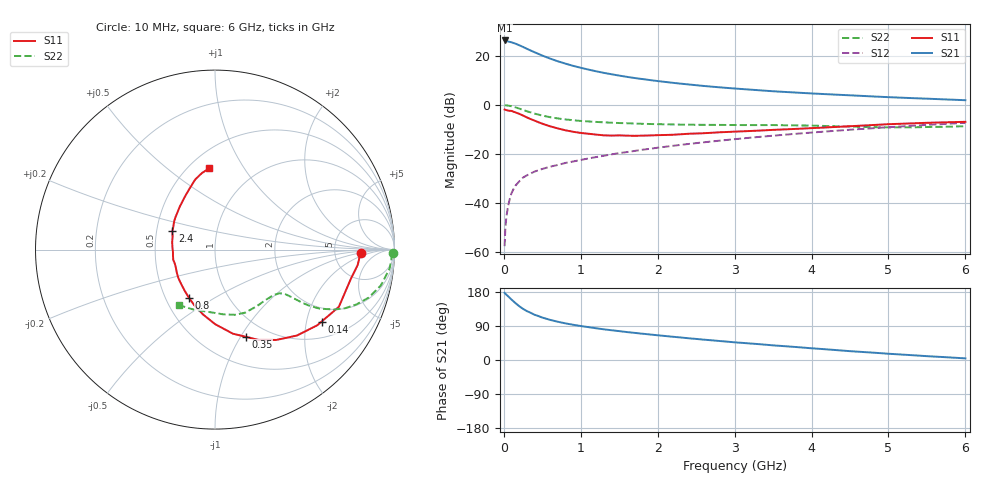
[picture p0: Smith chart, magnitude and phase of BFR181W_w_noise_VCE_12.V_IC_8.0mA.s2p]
! Infineon Technologies  Discrete & RF Semiconductors
! BFR181W
! VCE =  12. V,  IC =  8.0 mA
! Common Emitter S-Parameters:  Jan 2017
# GHz  S  MA  R  50
!  f  S11  S21  S12  S22
! GHz  MAG  ANG  MAG  ANG  MAG  ANG  MAG  ANG
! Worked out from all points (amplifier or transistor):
!   77 points, 10 MHz to 6 GHz, reference 50 ohm
!   highest |S21| = 26.4 dB at 10 MHz (marker M1)
!   |S21| within 3 dB of that: start of sweep to 272.8 MHz
!   unconditionally stable (mu >= 1): 1.204 GHz to 3.145 GHz
!   at 130 MHz: K = 0.24, MSG = 29.7 dB, |S12| = -34.1 dB
!   at 2.2 GHz: K = 1.06, MAG = 11.4 dB, |S12| = -16.7 dB
!   at 6 GHz: K = 0.86, MSG = 4.6 dB, |S12| = -7.3 dB
!   lowest NFmin = 1.14 dB at 450 MHz
!   S11 on the Smith chart (normalised r, x): 10 MHz: 9.45, -1.09; 140 MHz: 1.49, -2.46; 350 MHz: 0.80, -1.05; 800 MHz: 0.66, -0.39; 2.4 GHz: 0.61, +0.13; 6 GHz: 0.63, +0.71
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0.01  0.8109 -1.4  20.91 177.2  0.0013 85.5  0.9915 -1.2
0.02  0.7995 -6.2  20.59 174.7  0.0031 95.0  0.9859 -2.3
0.04  0.7814 -10.2  20.21 171.1  0.0061 84.2  0.9804 -5.0
0.1  0.7603 -24.8  19.18 159.3  0.0157 78.0  0.9454 -12.2
0.14  0.7167 -34.0  18.22 152.2  0.021 72.5  0.9067 -16.2
0.2  0.6612 -46.4  16.68 142.0  0.0274 69.0  0.8453 -21.2
0.25  0.6086 -55.8  15.41 134.9  0.0329 64.9  0.7944 -24.3
0.3  0.5582 -64.3  14.12 128.9  0.0365 63.4  0.7454 -26.6
0.35  0.5149 -70.6  13.01 124.5  0.04 61.9  0.706 -28.0
0.4  0.479 -78.0  11.99 119.3  0.0436 60.6  0.667 -29.5
0.5  0.4155 -89.9  10.26 112.0  0.0493 59.9  0.6083 -30.8
0.6  0.3681 -100.3  8.929 106.0  0.0548 59.6  0.565 -31.4
0.7  0.3325 -110.0  7.858 101.0  0.0594 60.8  0.5322 -31.6
0.8  0.3044 -118.7  7.03 96.7  0.0654 61.1  0.5079 -31.8
1.1  0.2587 -141.9  5.303 86.7  0.0809 62.7  0.4618 -32.4
1.6  0.2366 -171.7  3.769 73.7  0.1092 64.8  0.4246 -35.8
2.1  0.2441 166.7  2.965 63.3  0.1403 64.6  0.4033 -42.0
2.4  0.2587 156.6  2.637 57.4  0.1599 64.0  0.396 -46.6
3.1  0.2898 137.7  2.121 45.2  0.2072 61.5  0.3894 -58.0
4.1  0.3427 118.6  1.695 29.5  0.281 55.8  0.3759 -74.8
5.1  0.4107 104.5  1.427 15.3  0.3597 48.1  0.3486 -98.9
6  0.454 93.9  1.255 4.3  0.4331 40.1  0.3689 -123.0
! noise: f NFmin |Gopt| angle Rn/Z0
0.45  1.14  0.2  16  0.21
0.9  1.18  0.19  31  0.21
1.9  1.6  0.07  92  0.2
2.4  1.76  0.06  100  0.23
